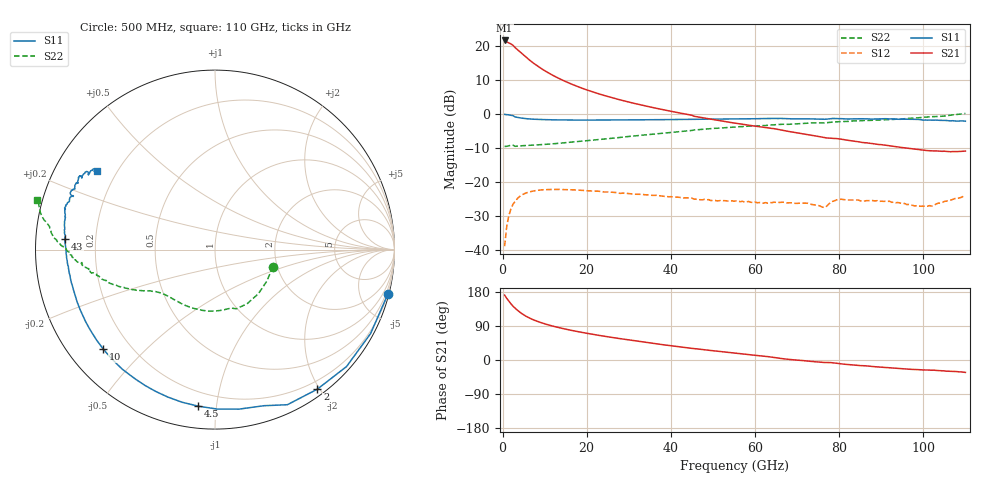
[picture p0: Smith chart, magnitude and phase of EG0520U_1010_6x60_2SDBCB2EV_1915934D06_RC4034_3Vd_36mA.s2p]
!File name = EG0520U_1010_6x60_2SDBCB2EV_1915934D06_RC4034_3Vd_36mA.s2p
!Base file name = EG0520U_1010_6x60_2SDBCB2EV_1915934D06_RC4034
!Date = 8/23/2019
!Time = 12:57 PM
!Test duration(min) = 0.15
!Test = S-Parameters
!MPTS version = 8.91.5
!State File = C:\Data\PNA\20190821205423\S-Parameters_2019-08-23.sta
!Cal File =
!ComputerName = CMPE-LAB-6
!Comments =
!Attenuation = 0
!Z0 = 50
!Input Power(dBm) = -13.00
!Device ID = EG0520U_1010_6x60_2SDBCB2EV
!Row = 40
!Column = 34
!Technology = QPHT09
!Lot/Wafer = 1915934D06
!Gate Size = 360
!Mask = EG0520
!Cal Standards = GaAs BCB
!Cal Kit = EG2306
!Job Number = 20190821205423
!Device Type = FET
!set_Vg(v) = -1.500
!set_Vd(v) = 3.000
!set_Vd(mA) = 36.000
!file_name = EG0520U_1010_6x60_2SDBCB2EV_1915934D06_RC4034_3Vd_36mA.s2p
!Vd(V) = 3.000
!Vd(mA) = 35.939
!Vg(V) = -0.526
!Vg(mA) = -0.002
# GHz  S  DB  R  50
!%	Freq(GHz)  s11(dB)  s11(deg)  s21(dB)  s21(deg)  s12(dB)  s12(deg)  s22(dB)  s22(deg)
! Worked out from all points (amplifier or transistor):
!   220 points, 500 MHz to 110 GHz, reference 50 ohm
!   highest |S21| = 21.7 dB at 500 MHz (marker M1)
!   |S21| within 3 dB of that: start of sweep to 3.819 GHz
!   unconditionally stable (mu >= 1): 34.05 GHz to 103 GHz
!   at 18.5 GHz: K = 0.52, MSG = 15.1 dB, |S12| = -22.3 dB
!   at 55.5 GHz: K = 1.49, MAG = 7.3 dB, |S12| = -25.5 dB
!   at 110 GHz: K = -1.43, MSG = 6.6 dB, |S12| = -24.0 dB
!   S11 on the Smith chart (normalised r, x): 500 MHz: 0.17, -7.95; 2 GHz: 0.09, -1.97; 4.5 GHz: 0.12, -0.89; 10 GHz: 0.10, -0.38; 43 GHz: 0.09, +0.04; 110 GHz: 0.13, +0.30
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0.5  -0.05 -14.3  21.67 171.3  -38.76 81.4  -9.47 -16.4
1  -0.13 -28.4  21.28 162.8  -32.99 73.9  -9.42 -31.3
2  -0.32 -53.7  20.67 148.2  -27.80 59.8  -9.11 -59.1
2.5  -0.41 -65.0  20.25 141.9  -26.41 54.1  -9.09 -70.0
3  -0.81 -72.6  19.57 136.8  -25.59 49.7  -9.43 -74.6
3.5  -0.93 -81.4  19.03 131.7  -24.82 45.3  -9.37 -82.8
4.5  -1.14 -96.1  17.92 123.0  -23.80 37.9  -9.26 -96.4
5.5  -1.28 -107.8  16.84 116.1  -23.18 32.1  -9.20 -106.6
7  -1.44 -121.1  15.35 107.7  -22.64 25.5  -9.07 -117.4
8.5  -1.52 -130.8  14.02 101.1  -22.32 20.8  -8.99 -124.4
10  -1.58 -138.4  12.81 95.6  -22.16 16.8  -8.86 -129.9
11.5  -1.64 -144.5  11.73 90.8  -22.11 13.7  -8.74 -133.9
13.5  -1.67 -150.9  10.46 85.2  -22.09 10.3  -8.53 -137.8
19  -1.72 -162.6  7.60 72.6  -22.36 4.2  -7.91 -144.2
26.5  -1.70 -172.2  4.69 58.6  -22.97 0.2  -6.97 -149.1
37  -1.60 179.6  1.62 42.0  -23.88 -1.5  -5.68 -154.8
43  -1.54 175.8  0.17 33.5  -24.58 -1.2  -5.00 -158.0
55.5  -1.39 168.7  -2.66 18.0  -25.47 0.5  -3.72 -165.4
73.5  -1.38 159.7  -6.19 -3.9  -26.52 -1.8  -2.55 -173.4
92  -1.37 151.3  -9.27 -20.7  -25.57 -13.9  -1.55 179.4
102  -1.74 148.5  -10.78 -27.0  -26.99 -9.0  -0.73 173.6
110  -2.05 146.4  -10.83 -32.7  -24.02 -12.6  0.25 164.5
